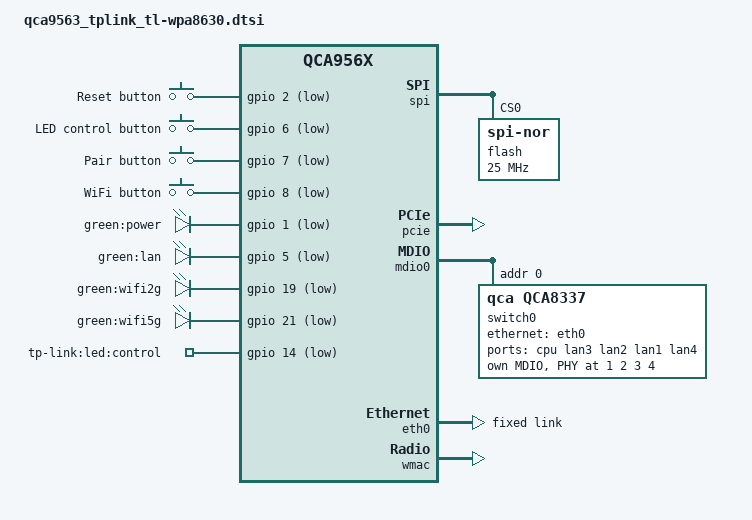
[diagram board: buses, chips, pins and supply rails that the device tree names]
// SPDX-License-Identifier: GPL-2.0-or-later OR MIT

#include "qca956x.dtsi"

#include <dt-bindings/gpio/gpio.h>
#include <dt-bindings/input/input.h>

/ {
	aliases {
		led-boot = &led_power;
		led-failsafe = &led_power;
		led-running = &led_power;
		led-upgrade = &led_power;
	};

	keys {
		compatible = "gpio-keys";

		reset {
			label = "Reset button";
			linux,code = <KEY_RESTART>;
			gpios = <&gpio 2 GPIO_ACTIVE_LOW>;
			debounce-interval = <60>;
		};

		leds {
			label = "LED control button";
			linux,code = <KEY_LIGHTS_TOGGLE>;
			gpios = <&gpio 6 GPIO_ACTIVE_LOW>;
			debounce-interval = <60>;
		};

		pair {
			label = "Pair button";
			linux,code = <BTN_1>;
			gpios = <&gpio 7 GPIO_ACTIVE_LOW>;
			debounce-interval = <60>;
		};

		wifi {
			label = "WiFi button";
			linux,code = <KEY_RFKILL>;
			gpios = <&gpio 8 GPIO_ACTIVE_LOW>;
			debounce-interval = <60>;
		};
	};

	leds {
		compatible = "gpio-leds";

		led_power: power {
			label = "green:power";
			gpios = <&gpio 1 GPIO_ACTIVE_LOW>;
		};

		lan {
			label = "green:lan";
			gpios = <&gpio 5 GPIO_ACTIVE_LOW>;
		};

		wifi2g {
			label = "green:wifi2g";
			gpios = <&gpio 19 GPIO_ACTIVE_LOW>;
			linux,default-trigger = "phy1tpt";
		};

		wifi5g {
			label = "green:wifi5g";
			gpios = <&gpio 21 GPIO_ACTIVE_LOW>;
			linux,default-trigger = "phy0tpt";
		};
	};

	gpio-export {
		compatible = "gpio-export";

		led_control {
			gpio-export,name = "tp-link:led:control";
			gpio-export,output = <0>;
			gpios = <&gpio 14 GPIO_ACTIVE_LOW>;
		};
	};
};

&spi {
	status = "okay";

	flash@0 {
		compatible = "jedec,spi-nor";
		reg = <0>;
		spi-max-frequency = <25000000>;

		partitions: partitions {
			compatible = "fixed-partitions";
			#address-cells = <1>;
			#size-cells = <1>;
		};
	};
};

&pcie {
	status = "okay";
};

&mdio0 {
	status = "okay";

	phy-mask = <0>;

	switch0@10 {
		compatible = "qca,qca8337";
		#address-cells = <1>;
		#size-cells = <0>;

		reg = <0>;
		qca,ignore-power-on-sel;
		qca,led-open-drain;

		ports {
			#address-cells = <1>;
			#size-cells = <0>;

			port@0 {
				reg = <0>;
				label = "cpu";
				ethernet = <&eth0>;
				phy-mode = "sgmii";
				qca,sgmii-rxclk-falling-edge;

				fixed-link {
					speed = <1000>;
					full-duplex;
				};
			};

			port@2 {
				reg = <2>;
				label = "lan3";
				phy-mode = "internal";
				phy-handle = <&phy_port2>;
			};

			port@3 {
				reg = <3>;
				label = "lan2";
				phy-mode = "internal";
				phy-handle = <&phy_port3>;
			};

			port@4 {
				reg = <4>;
				label = "lan1";
				phy-mode = "internal";
				phy-handle = <&phy_port4>;
			};

			port@5 {
				reg = <5>;
				label = "lan4";
				phy-mode = "internal";
				phy-handle = <&phy_port5>;
			};
		};

		mdio {
			#address-cells = <1>;
			#size-cells = <0>;

			phy_port2: phy@1 {
				reg = <1>;
			};

			phy_port3: phy@2 {
				reg = <2>;
			};

			phy_port4: phy@3 {
				reg = <3>;
			};

			phy_port5: phy@4 {
				reg = <4>;
			};
		};
	};
};

&eth0 {
	status = "okay";

	fixed-link {
		speed = <1000>;
		full-duplex;
	};
};

&wmac {
	status = "okay";
};
